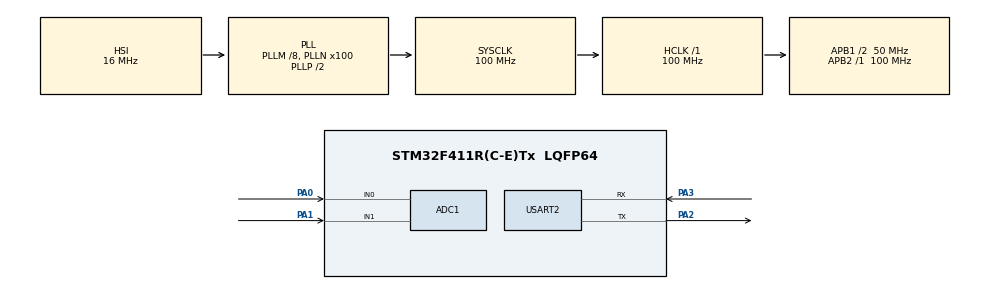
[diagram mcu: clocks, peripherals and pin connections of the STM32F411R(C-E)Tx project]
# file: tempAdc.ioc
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ADC1.Channel-0\#ChannelRegularConversion=ADC_CHANNEL_0
ADC1.Channel-1\#ChannelRegularConversion=ADC_CHANNEL_1
ADC1.ContinuousConvMode=ENABLE
ADC1.InjNumberOfConversion=0
ADC1.NbrOfConversion=2
ADC1.NbrOfConversionFlag=1
ADC1.Rank-0\#ChannelRegularConversion=1
ADC1.Rank-1\#ChannelRegularConversion=2
ADC1.SamplingTime-0\#ChannelRegularConversion=ADC_SAMPLETIME_84CYCLES
ADC1.SamplingTime-1\#ChannelRegularConversion=ADC_SAMPLETIME_84CYCLES
ADC1.ScanConvMode=ENABLE
ADC1.master=1
Mcu.Family=STM32F4
Mcu.Name=STM32F411R(C-E)Tx
Mcu.Package=LQFP64
NVIC.PriorityGroup=NVIC_PRIORITYGROUP_4
NVIC.USART2_IRQn=true\:0\:0\:false\:false\:true\:true\:true\:true
PA0-WKUP.Signal=ADCx_IN0
PA1.Signal=ADCx_IN1
PA2.Mode=Asynchronous
PA2.Signal=USART2_TX
PA3.Mode=Asynchronous
PA3.Signal=USART2_RX
ProjectManager.HeapSize=0x200
ProjectManager.StackSize=0x400
ProjectManager.TargetToolchain=STM32CubeIDE
RCC.48MHZClocksFreq_Value=50000000
RCC.AHBFreq_Value=100000000
RCC.APB1CLKDivider=RCC_HCLK_DIV2
RCC.APB1Freq_Value=50000000
RCC.APB1TimFreq_Value=100000000
RCC.APB2Freq_Value=100000000
RCC.APB2TimFreq_Value=100000000
RCC.CortexFreq_Value=100000000
RCC.HCLKFreq_Value=100000000
RCC.HSE_VALUE=25000000
RCC.HSI_VALUE=16000000
RCC.LSE_VALUE=32768
RCC.PLLM=8
RCC.PLLN=100
RCC.SYSCLKFreq_VALUE=100000000
RCC.SYSCLKSource=RCC_SYSCLKSOURCE_PLLCLK
RCC.VCOOutputFreq_Value=200000000
SH.ADCx_IN0.0=ADC1_IN0,IN0
SH.ADCx_IN1.0=ADC1_IN1,IN1
USART2.VirtualMode=VM_ASYNC
board=custom

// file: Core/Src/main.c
/* USER CODE BEGIN Header */
/**
  ******************************************************************************
  * @file           : main.c
  * @brief          : Main program body
  ******************************************************************************
  * @attention
  *
  * Copyright (c) 2024 STMicroelectronics.
  * All rights reserved.
  *
  * This software is licensed under terms that can be found in the LICENSE file
  * in the root directory of this software component.
  * If no LICENSE file comes with this software, it is provided AS-IS.
  *
  ******************************************************************************
  */
/* USER CODE END Header */
#include "main.h"

/* USER CODE BEGIN Includes */
#include "uart.h"
#include <stdio.h>
/* USER CODE END Includes */

ADC_HandleTypeDef hadc1;

UART_HandleTypeDef huart2;

void SystemClock_Config(void);
static void MX_GPIO_Init(void);
static void MX_ADC1_Init(void);
static void MX_USART2_UART_Init(void);

/* USER CODE BEGIN 0 */
uint32_t adcValue;
double Kalman(double measurement,uint8_t ch){
  static double P[] ={1.0,1.0};
	const static double varP = 0.0001;
	static double R[] = {0.25,0.25};
	static double K[] = {1.0,1.0};
	static double X[] = {20.0,20.0};

	P[ch] = P[ch] +varP;
	K[ch] = P[ch]/(P[ch]+R[ch]);
	X[ch] = (K[ch]*measurement)+(1-K[ch])*X[ch];
	P[ch] = (1-K[ch])*P[ch];

	return X[ch];
}
/* USER CODE END 0 */

int main(void)
{

  /* MCU Configuration--------------------------------------------------------*/

  /* Reset of all peripherals, Initializes the Flash interface and the Systick. */
  HAL_Init();

  /* Configure the system clock */
  SystemClock_Config();

  /* Initialize all configured peripherals */
  MX_GPIO_Init();
  MX_ADC1_Init();
  MX_USART2_UART_Init();
  /* USER CODE BEGIN 2 */
  initUart(&huart2);
  printf("start temperature with ADC example\n");
  /* USER CODE END 2 */

  /* Infinite loop */
  /* USER CODE BEGIN WHILE */
  while (1)
  {
  	//AD�???��
  	static uint16_t valueArray[100] = {0,};
  	static uint8_t valuePosition = 0;

    HAL_ADC_Start(&hadc1);
    HAL_ADC_PollForConversion(&hadc1, 1);
    uint16_t tmpValue = 4095 - HAL_ADC_GetValue(&hadc1);

    HAL_ADC_Start(&hadc1);
    HAL_ADC_PollForConversion(&hadc1, 1);
    uint16_t cdsValue = 4095 - HAL_ADC_GetValue(&hadc1);
    HAL_ADC_Stop(&hadc1);

    adcValue -= valueArray[valuePosition];
    valueArray[valuePosition] = tmpValue;
    adcValue += valueArray[valuePosition];
    valuePosition++;
    valuePosition %= 100;

    //UART ?��?��
  	printf("%d\t%d\t%d\t%d\n",cdsValue,tmpValue, adcValue/100 ,(int)Kalman((double)tmpValue,(double)cdsValue));
  	HAL_Delay(1);
    /* USER CODE END WHILE */

  }
}

void SystemClock_Config(void)
{
  RCC_OscInitTypeDef RCC_OscInitStruct = {0};
  RCC_ClkInitTypeDef RCC_ClkInitStruct = {0};

  /** Configure the main internal regulator output voltage
  */
  __HAL_RCC_PWR_CLK_ENABLE();
  __HAL_PWR_VOLTAGESCALING_CONFIG(PWR_REGULATOR_VOLTAGE_SCALE1);

  /** Initializes the RCC Oscillators according to the specified parameters
  * in the RCC_OscInitTypeDef structure.
  */
  RCC_OscInitStruct.OscillatorType = RCC_OSCILLATORTYPE_HSI;
  RCC_OscInitStruct.HSIState = RCC_HSI_ON;
  RCC_OscInitStruct.HSICalibrationValue = RCC_HSICALIBRATION_DEFAULT;
  RCC_OscInitStruct.PLL.PLLState = RCC_PLL_ON;
  RCC_OscInitStruct.PLL.PLLSource = RCC_PLLSOURCE_HSI;
  RCC_OscInitStruct.PLL.PLLM = 8;
  RCC_OscInitStruct.PLL.PLLN = 100;
  RCC_OscInitStruct.PLL.PLLP = RCC_PLLP_DIV2;
  RCC_OscInitStruct.PLL.PLLQ = 4;
  if (HAL_RCC_OscConfig(&RCC_OscInitStruct) != HAL_OK)
  {
    Error_Handler();
  }

  /** Initializes the CPU, AHB and APB buses clocks
  */
  RCC_ClkInitStruct.ClockType = RCC_CLOCKTYPE_HCLK|RCC_CLOCKTYPE_SYSCLK
                              |RCC_CLOCKTYPE_PCLK1|RCC_CLOCKTYPE_PCLK2;
  RCC_ClkInitStruct.SYSCLKSource = RCC_SYSCLKSOURCE_PLLCLK;
  RCC_ClkInitStruct.AHBCLKDivider = RCC_SYSCLK_DIV1;
  RCC_ClkInitStruct.APB1CLKDivider = RCC_HCLK_DIV2;
  RCC_ClkInitStruct.APB2CLKDivider = RCC_HCLK_DIV1;

  if (HAL_RCC_ClockConfig(&RCC_ClkInitStruct, FLASH_LATENCY_3) != HAL_OK)
  {
    Error_Handler();
  }
}

static void MX_ADC1_Init(void)
{

  ADC_ChannelConfTypeDef sConfig = {0};

  /** Configure the global features of the ADC (Clock, Resolution, Data Alignment and number of conversion)
  */
  hadc1.Instance = ADC1;
  hadc1.Init.ClockPrescaler = ADC_CLOCK_SYNC_PCLK_DIV4;
  hadc1.Init.Resolution = ADC_RESOLUTION_12B;
  hadc1.Init.ScanConvMode = ENABLE;
  hadc1.Init.ContinuousConvMode = ENABLE;
  hadc1.Init.DiscontinuousConvMode = DISABLE;
  hadc1.Init.ExternalTrigConvEdge = ADC_EXTERNALTRIGCONVEDGE_NONE;
  hadc1.Init.ExternalTrigConv = ADC_SOFTWARE_START;
  hadc1.Init.DataAlign = ADC_DATAALIGN_RIGHT;
  hadc1.Init.NbrOfConversion = 2;
  hadc1.Init.DMAContinuousRequests = DISABLE;
  hadc1.Init.EOCSelection = ADC_EOC_SINGLE_CONV;
  if (HAL_ADC_Init(&hadc1) != HAL_OK)
  {
    Error_Handler();
  }

  /** Configure for the selected ADC regular channel its corresponding rank in the sequencer and its sample time.
  */
  sConfig.Channel = ADC_CHANNEL_0;
  sConfig.Rank = 1;
  sConfig.SamplingTime = ADC_SAMPLETIME_84CYCLES;
  if (HAL_ADC_ConfigChannel(&hadc1, &sConfig) != HAL_OK)
  {
    Error_Handler();
  }

  /** Configure for the selected ADC regular channel its corresponding rank in the sequencer and its sample time.
  */
  sConfig.Channel = ADC_CHANNEL_1;
  sConfig.Rank = 2;
  if (HAL_ADC_ConfigChannel(&hadc1, &sConfig) != HAL_OK)
  {
    Error_Handler();
  }

}

static void MX_USART2_UART_Init(void)
{

  huart2.Instance = USART2;
  huart2.Init.BaudRate = 115200;
  huart2.Init.WordLength = UART_WORDLENGTH_8B;
  huart2.Init.StopBits = UART_STOPBITS_1;
  huart2.Init.Parity = UART_PARITY_NONE;
  huart2.Init.Mode = UART_MODE_TX_RX;
  huart2.Init.HwFlowCtl = UART_HWCONTROL_NONE;
  huart2.Init.OverSampling = UART_OVERSAMPLING_16;
  if (HAL_UART_Init(&huart2) != HAL_OK)
  {
    Error_Handler();
  }

}

static void MX_GPIO_Init(void)
{

  /* GPIO Ports Clock Enable */
  __HAL_RCC_GPIOA_CLK_ENABLE();

}

void Error_Handler(void)
{
  __disable_irq();
  while (1)
  {
  }
}
